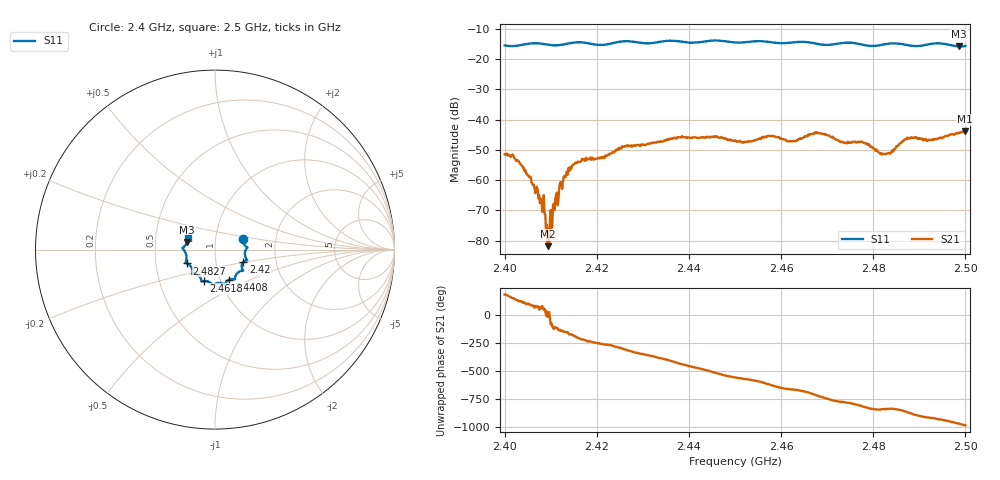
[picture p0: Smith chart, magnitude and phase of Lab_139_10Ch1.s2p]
# Hz S RI R 50
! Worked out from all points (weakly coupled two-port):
!   601 points, 2.4 GHz to 2.5 GHz, reference 50 ohm
!   highest |S21| = -43.87 dB at 2.4998 GHz (marker M1); lowest = -81.8 dB at 2.4093 GHz (marker M2)
!   lowest |S11| = -15.9 dB at 2.4987 GHz (marker M3), VSWR 1.38, Z = 36.5 + j3.21 ohm
!   |S11| at or under -10 dB: start of sweep to end of sweep
!   S12 and S22 are empty: the file has one direction only
!   S11 on the Smith chart (normalised r, x): 2.4 GHz: 1.35, +0.17; 2.42 GHz: 1.36, -0.19; 2.4408 GHz: 1.10, -0.38; 2.4618 GHz: 0.84, -0.30; 2.4827 GHz: 0.72, -0.11; 2.5 GHz: 0.73, +0.09
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2.4e9  0.1552 0.0616  -0.00267 8.92e-05  0 0  0 0
2.402167e9  0.16 0.0341  -0.00171 0.00152  0 0  0 0
2.405333e9  0.1787 0.0136  -3.79e-05 0.00112  0 0  0 0
2.408333e9  0.1773 0.0074  0.000213 0.000253  0 0  0 0
2.409333e9  0.1725 0.00021  7.59e-05 -2.92e-05  0 0  0 0
2.409833e9  0.17 -0.00439  0.000188 -9e-05  0 0  0 0
2.411e9  0.1666 -0.0179  -0.000198 -0.000449  0 0  0 0
2.4125e9  0.1679 -0.0363  -0.000571 -0.000432  0 0  0 0
2.416667e9  0.1786 -0.0589  -0.00162 0.00133  0 0  0 0
2.42e9  0.1572 -0.0691  -0.000615 0.00216  0 0  0 0
2.433333e9  0.112 -0.1527  0.00388 -0.00182  0 0  0 0
2.440833e9  0.078 -0.1685  -0.00137 -0.00485  0 0  0 0
2.45e9  0.0273 -0.1852  -0.00428 0.00151  0 0  0 0
2.461833e9  -0.0609 -0.1752  0.00247 0.00363  0 0  0 0
2.466667e9  -0.0764 -0.1682  0.00553 0.00167  0 0  0 0
2.4775e9  -0.125 -0.1197  -0.000295 -0.00433  0 0  0 0
2.482667e9  -0.1577 -0.0774  -0.0013 -0.00235  0 0  0 0
2.483333e9  -0.1615 -0.0763  -0.00141 -0.00244  0 0  0 0
2.487667e9  -0.1591 -0.0536  -0.00441 -0.0023  0 0  0 0
2.498667e9  -0.1548 0.0428  -0.002 0.00561  0 0  0 0
2.499833e9  -0.1516 0.0602  -0.000633 0.00637  0 0  0 0
2.5e9  -0.1514 0.0626  -0.000401 0.00627  0 0  0 0
